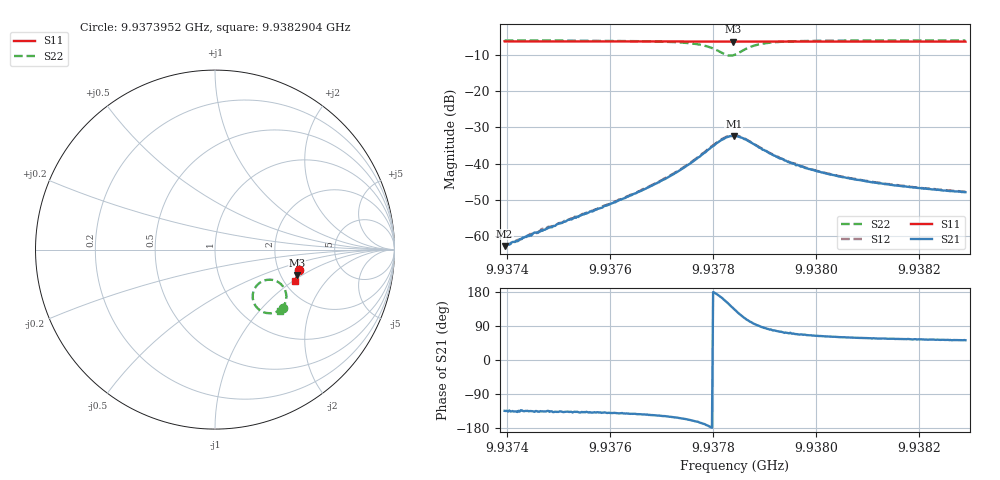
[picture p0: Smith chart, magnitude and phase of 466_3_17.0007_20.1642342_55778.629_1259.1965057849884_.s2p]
#  HZ  S  RI  R  50.00
! Rohde & Schwarz Vector Network Analyzer
! Rohde-Schwarz,ZNB20-2Port,1311601062101988,3.16
! Created: UTC 3/20/2024, 11:12:59 PM
! freq[Hz]  re:S11  im:S11  re:S21  im:S21  re:S12  im:S12  re:S22  im:S22
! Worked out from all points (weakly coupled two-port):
!   401 points, 9.9373952 GHz to 9.9382904 GHz, reference 50 ohm
!   highest |S21| = -32.36 dB at 9.9378405 GHz (marker M1); lowest = -62.7 dB at 9.9373952 GHz (marker M2)
!   lowest |S11| = -6.4 dB at 9.9378383 GHz (marker M3), VSWR 2.83, Z = 122 - j45.1 ohm
!   |S11| at or under -10 dB: nowhere
!   |S22| runs from -10.3 to -6.1 dB; largest |S21 - S12| = 0.0011
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9.93739515e9  0.4693 -0.1148  -0.000511 -0.000525  -0.000515 -0.000513  0.3779 -0.3231
9.93744439e9  0.4683 -0.1181  -0.00073 -0.00074  -0.000766 -0.000747  0.3737 -0.3269
9.9375451e9  0.466 -0.1248  -0.00143 -0.00134  -0.00149 -0.00133  0.3627 -0.3356
9.93763238e9  0.464 -0.1308  -0.00269 -0.00218  -0.00281 -0.00213  0.3473 -0.3448
9.93769504e9  0.4623 -0.1349  -0.0046 -0.00303  -0.00478 -0.003  0.3274 -0.3521
9.93773756e9  0.4612 -0.1379  -0.00741 -0.00365  -0.00761 -0.0036  0.3027 -0.3549
9.93778456e9  0.4591 -0.1408  -0.014 -0.00256  -0.0144 -0.00213  0.2494 -0.3375
9.93780023e9  0.4582 -0.1416  -0.0174 0.000257  -0.0179 0.000673  0.2255 -0.3126
9.9378159e9  0.4574 -0.1423  -0.0202 0.00538  -0.0205 0.00611  0.2101 -0.2675
9.93782932e9  0.457 -0.1422  -0.0202 0.0119  -0.02 0.0127  0.2214 -0.2165
9.93783828e9  0.4568 -0.1422  -0.0178 0.016  -0.0178 0.0169  0.2458 -0.1875
9.93784051e9  0.4569 -0.1422  -0.017 0.0171  -0.0168 0.0177  0.2537 -0.1821
9.93784275e9  0.457 -0.1422  -0.0161 0.0178  -0.0158 0.0186  0.2619 -0.1774
9.93785394e9  0.4571 -0.1428  -0.011 0.0202  -0.0106 0.0207  0.3051 -0.1675
9.93786961e9  0.4577 -0.1437  -0.00455 0.0197  -0.00408 0.0201  0.3531 -0.1815
9.93789646e9  0.4577 -0.1457  0.000939 0.0154  0.00155 0.0159  0.3895 -0.2236
9.93794794e9  0.4569 -0.1496  0.00354 0.0098  0.00364 0.00989  0.397 -0.2739
9.9379927e9  0.4558 -0.1527  0.00352 0.0074  0.00366 0.00743  0.3917 -0.2953
9.93806431e9  0.454 -0.1575  0.00319 0.00539  0.00334 0.00539  0.3828 -0.3142
9.93814264e9  0.4518 -0.1627  0.00286 0.00426  0.00299 0.00427  0.3747 -0.3259
9.93820754e9  0.45 -0.167  0.00268 0.00369  0.00277 0.00366  0.3688 -0.3333
9.93829035e9  0.4477 -0.1722  0.00247 0.00318  0.00257 0.00319  0.3625 -0.3403
